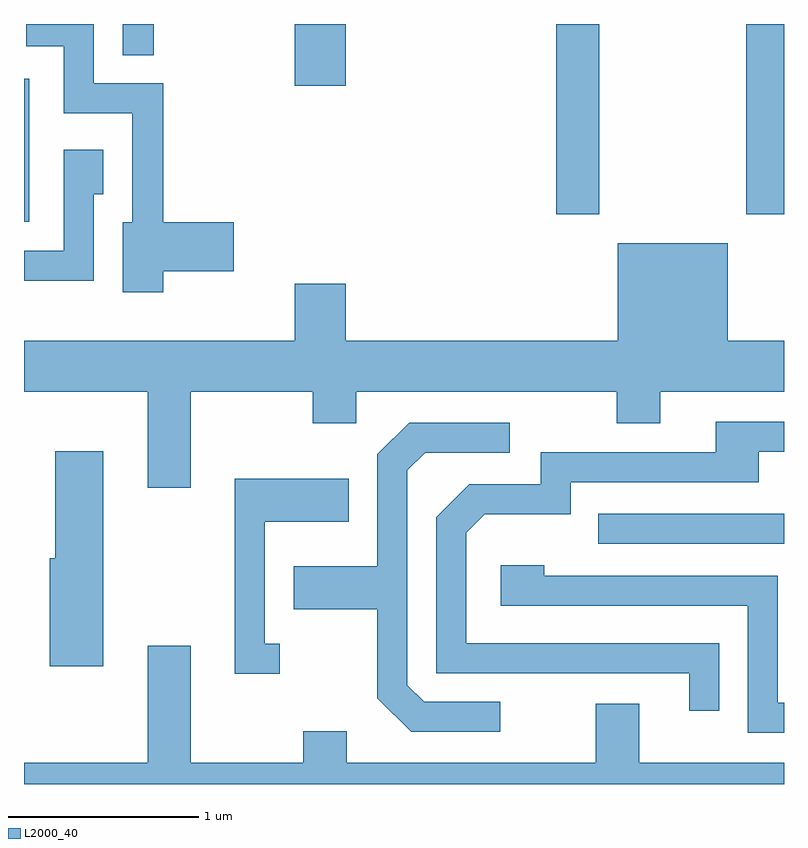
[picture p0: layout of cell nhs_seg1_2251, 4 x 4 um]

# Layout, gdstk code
import gdstk
lib = gdstk.Library(unit=1e-6, precision=1e-09)
def R(c, l, rs):  # rectangles x0, y0, x1, y1
    for r in rs: c.add(gdstk.rectangle(r[:2], r[2:], *l))
def P(c, l, *ps):  # polygons
    for p in ps: c.add(gdstk.Polygon(p, *l))
L2000_40 = (2000, 40)

nhs_seg1_2251 = lib.new_cell('nhs_seg1_2251')
R(nhs_seg1_2251, L2000_40, [(256.633,920.976,257.611,921.134), (253.611,922.671,253.639,923.424), (256.411,922.711,256.639,923.712), (257.411,922.711,257.611,923.712), (255.036,923.386,255.304,923.712), (254.131,923.548,254.294,923.712)])
P(nhs_seg1_2251, L2000_40, [(254.344,922.411),(254.714,922.411),(254.714,922.669),(254.344,922.669),(254.344,923.399),(253.979,923.399),(253.979,923.712),(253.623,923.712),(253.623,923.596),(253.821,923.596),(253.821,923.241),(254.181,923.241),(254.181,922.669),(254.131,922.669),(254.131,922.301),(254.344,922.301)],
  [(253.979,922.816),(254.029,922.816),(254.029,923.049),(253.821,923.049),(253.821,922.519),(253.611,922.519),(253.611,922.361),(253.979,922.361)],
  [(254.489,921.776),(255.131,921.776),(255.131,921.611),(255.359,921.611),(255.359,921.776),(256.731,921.776),(256.731,921.611),(256.959,921.611),(256.959,921.776),(257.611,921.776),(257.611,922.044),(257.314,922.044),(257.314,922.559),(256.736,922.559),(256.736,922.044),(255.304,922.044),(255.304,922.344),(255.036,922.344),(255.036,922.044),(253.611,922.044),(253.611,921.776),(254.261,921.776),(254.261,921.271),(254.489,921.271)],
  [(257.269,920.454),(255.939,920.454),(255.939,921.034),(256.037,921.131),(256.489,921.131),(256.489,921.301),(257.479,921.301),(257.479,921.461),(257.611,921.461),(257.611,921.619),(257.251,921.619),(257.251,921.459),(256.331,921.459),(256.331,921.289),(255.954,921.289),(255.781,921.117),(255.781,920.296),(257.111,920.296),(257.111,920.098),(257.269,920.098)],
  [(256.118,920.144),(255.717,920.144),(255.629,920.232),(255.629,921.364),(255.722,921.456),(256.168,921.456),(256.168,921.614),(255.639,921.614),(255.471,921.447),(255.471,920.859),(255.031,920.859),(255.031,920.631),(255.471,920.631),(255.471,920.164),(255.649,919.986),(256.118,919.986)],
  [(254.029,921.464),(253.776,921.464),(253.776,920.899),(253.746,920.899),(253.746,920.331),(254.029,920.331)],
  [(254.958,920.449),(254.879,920.449),(254.879,921.091),(255.319,921.091),(255.319,921.319),(254.721,921.319),(254.721,920.291),(254.958,920.291)],
  [(257.611,920.139),(257.579,920.139),(257.579,920.809),(256.349,920.809),(256.349,920.864),(256.121,920.864),(256.121,920.651),(257.421,920.651),(257.421,919.981),(257.611,919.981)],
  [(257.611,919.824),(256.849,919.824),(256.849,920.134),(256.621,920.134),(256.621,919.824),(255.309,919.824),(255.309,919.989),(255.081,919.989),(255.081,919.824),(254.489,919.824),(254.489,920.439),(254.261,920.439),(254.261,919.824),(253.611,919.824),(253.611,919.712),(257.611,919.712)])

lib.write_gds('nhs_seg1_2251.gds')
